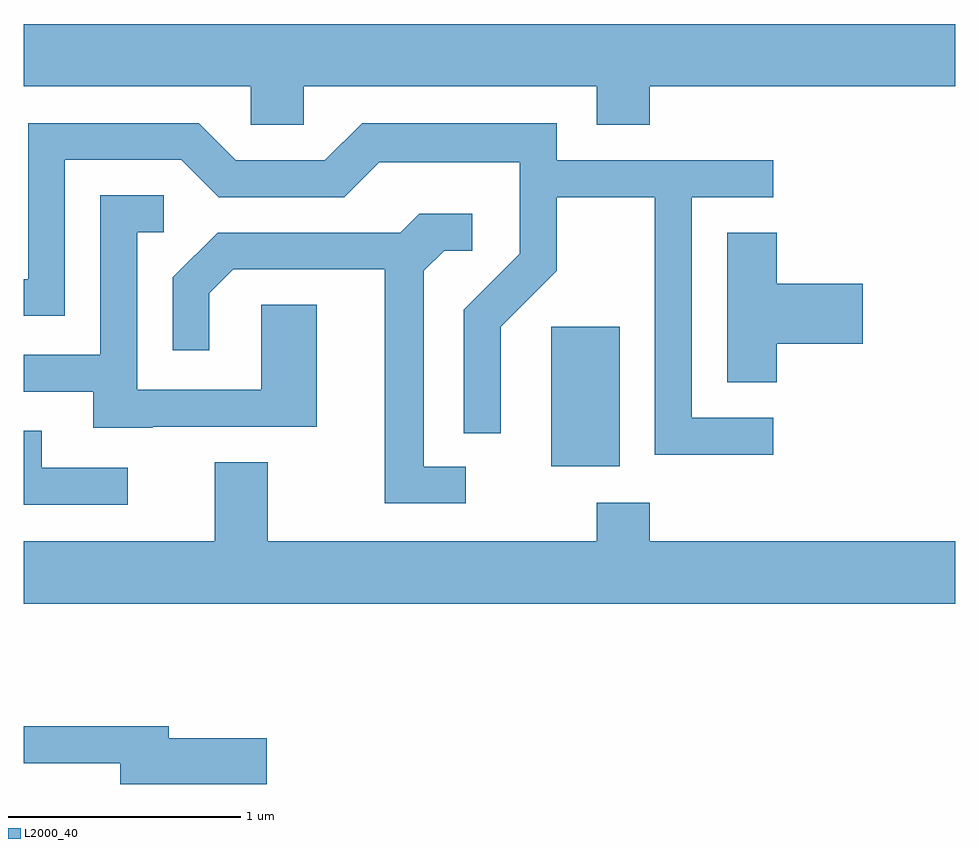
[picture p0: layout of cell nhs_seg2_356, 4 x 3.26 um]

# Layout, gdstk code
import gdstk
lib = gdstk.Library(unit=1e-6, precision=1e-09)
def R(c, l, rs):  # rectangles x0, y0, x1, y1
    for r in rs: c.add(gdstk.rectangle(r[:2], r[2:], *l))
def P(c, l, *ps):  # polygons
    for p in ps: c.add(gdstk.Polygon(p, *l))
L2000_40 = (2000, 40)

nhs_seg2_356 = lib.new_cell('nhs_seg2_356')
R(nhs_seg2_356, L2000_40, [(197.876,1011.166,198.169,1011.764)])
P(nhs_seg2_356, L2000_40, [(196.814,1012.796),(198.071,1012.796),(198.071,1012.631),(198.299,1012.631),(198.299,1012.796),(199.611,1012.796),(199.611,1013.064),(195.611,1013.064),(195.611,1012.796),(196.586,1012.796),(196.586,1012.631),(196.814,1012.631)],
  [(198.828,1011.374),(198.479,1011.374),(198.479,1012.321),(198.828,1012.321),(198.828,1012.479),(197.899,1012.479),(197.899,1012.639),(197.064,1012.639),(196.904,1012.479),(196.522,1012.479),(196.362,1012.639),(195.631,1012.639),(195.631,1011.969),(195.611,1011.969),(195.611,1011.811),(195.789,1011.811),(195.789,1012.481),(196.289,1012.481),(196.449,1012.321),(196.987,1012.321),(197.137,1012.471),(197.741,1012.471),(197.741,1012.077),(197.501,1011.837),(197.501,1011.308),(197.659,1011.308),(197.659,1011.764),(197.899,1012.004),(197.899,1012.321),(198.321,1012.321),(198.321,1011.216),(198.828,1011.216)],
  [(196.165,1011.336),(196.869,1011.336),(196.869,1011.859),(196.631,1011.859),(196.631,1011.494),(196.099,1011.494),(196.099,1012.171),(196.213,1012.171),(196.213,1012.329),(195.941,1012.329),(195.941,1011.644),(195.611,1011.644),(195.611,1011.486),(195.911,1011.486),(195.911,1011.331),(196.165,1011.331)],
  [(197.508,1011.164),(197.329,1011.164),(197.329,1012.004),(197.417,1012.091),(197.538,1012.091),(197.538,1012.249),(197.309,1012.249),(197.229,1012.169),(196.444,1012.169),(196.251,1011.977),(196.251,1011.663),(196.409,1011.663),(196.409,1011.909),(196.512,1012.011),(197.161,1012.011),(197.161,1011.006),(197.508,1011.006)],
  [(198.844,1011.691),(199.214,1011.691),(199.214,1011.949),(198.844,1011.949),(198.844,1012.169),(198.631,1012.169),(198.631,1011.526),(198.844,1011.526)],
  [(196.058,1011.159),(195.689,1011.159),(195.689,1011.319),(195.611,1011.319),(195.611,1011.001),(196.058,1011.001)],
  [(199.611,1010.844),(198.299,1010.844),(198.299,1011.009),(198.071,1011.009),(198.071,1010.844),(196.659,1010.844),(196.659,1011.184),(196.431,1011.184),(196.431,1010.844),(195.611,1010.844),(195.611,1010.576),(199.611,1010.576)],
  [(196.654,1009.999),(196.234,1009.999),(196.234,1010.049),(195.611,1010.049),(195.611,1009.891),(196.026,1009.891),(196.026,1009.802),(196.654,1009.802)])

lib.write_gds('nhs_seg2_356.gds')
